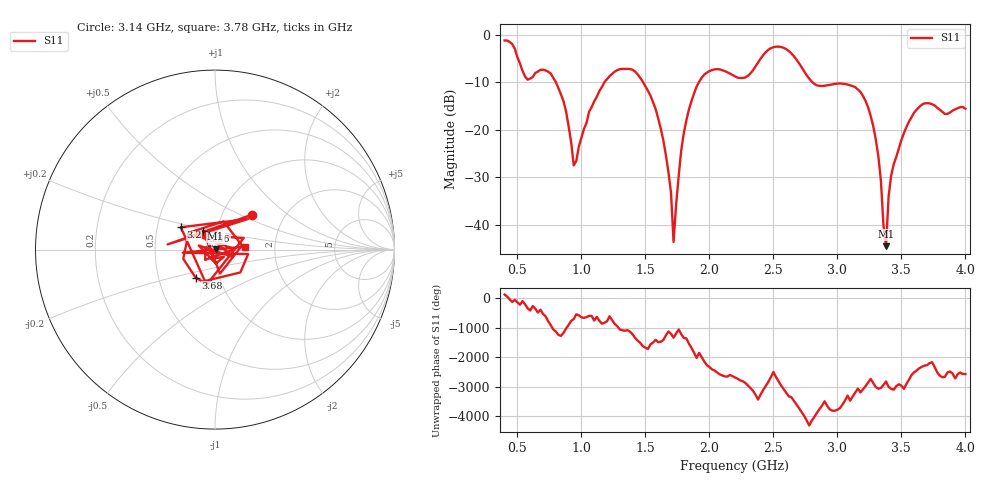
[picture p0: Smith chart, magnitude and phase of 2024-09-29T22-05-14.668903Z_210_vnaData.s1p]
!Created with skrf (http://scikit-rf.org).
# Hz S RI R 50.0
!freq ReS11 ImS11
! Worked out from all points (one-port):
!   181 points, 400 MHz to 4 GHz, reference 50 ohm
!   lowest |S11| = -44.4 dB at 3.38 GHz (marker M1), VSWR 1.01, Z = 50.3 + j0.493 ohm
!   |S11| at or under -10 dB: 801.2 MHz to 1.179 GHz (378 MHz wide, 38.2 % of centre); 1.482 GHz to 1.918 GHz (435.7 MHz wide, 25.6 % of centre); 2.806 GHz to end of sweep
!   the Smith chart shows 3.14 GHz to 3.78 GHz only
!   S11 on the Smith chart (normalised r, x): 3.14 GHz: 1.37, +0.58; 3.2 GHz: 0.66, +0.17; 3.56 GHz: 0.86, +0.18; 3.68 GHz: 0.77, -0.25; 3.78 GHz: 1.41, +0.05
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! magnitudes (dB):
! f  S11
! 400 MHz  -1.2
! 580 MHz  -9.4
! 740 MHz  -7.8
! 860 MHz  -13.9
! 940 MHz  -27.5
! 1.06 GHz  -16.2
! 1.3 GHz  -7.2
! 1.44 GHz  -8.3
! 1.58 GHz  -15.6
! 1.68 GHz  -28.9
! 1.72 GHz  -43.5
! 1.76 GHz  -29.7
! 1.82 GHz  -18.0
! 1.92 GHz  -9.9
! 2.2 GHz  -8.7
! 2.5 GHz  -2.6
! 2.66 GHz  -4.5
! 2.84 GHz  -10.6
! 3.1 GHz  -10.6
! 3.14 GHz  -11.0
! 3.2 GHz  -12.9
! 3.3 GHz  -22.0
! 3.38 GHz  -44.4
! 3.42 GHz  -29.6
! 3.56 GHz  -18.2
! 3.68 GHz  -14.4
! 3.78 GHz  -15.4
! 4 GHz  -15.5
